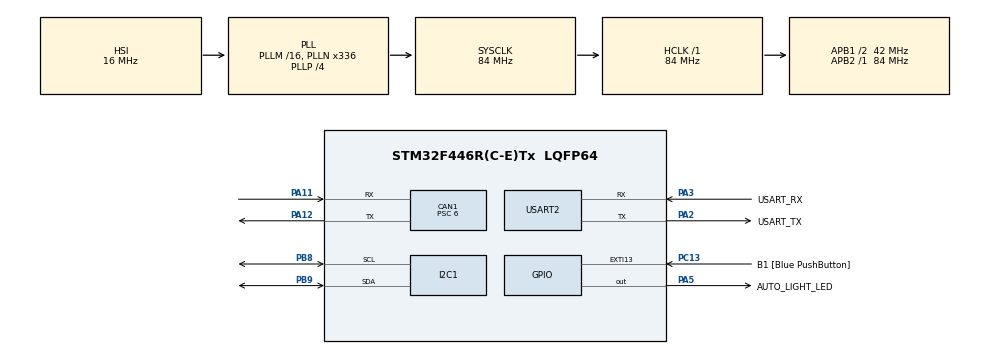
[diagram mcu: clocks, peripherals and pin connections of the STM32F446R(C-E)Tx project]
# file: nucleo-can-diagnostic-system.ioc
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CAN1.BS1=CAN_BS1_11TQ
CAN1.BS2=CAN_BS2_2TQ
CAN1.CalculateBaudRate=500000
CAN1.CalculateTimeBit=2000
CAN1.CalculateTimeQuantum=142.85714285714286
CAN1.Mode=CAN_MODE_NORMAL
CAN1.Prescaler=6
Mcu.Family=STM32F4
Mcu.Name=STM32F446R(C-E)Tx
Mcu.Package=LQFP64
NVIC.CAN1_RX0_IRQn=true\:0\:0\:false\:false\:true\:true\:true\:true
NVIC.PriorityGroup=NVIC_PRIORITYGROUP_0
PA11.Mode=CAN_Activate
PA11.Signal=CAN1_RX
PA12.Mode=CAN_Activate
PA12.Signal=CAN1_TX
PA13.GPIO_Label=TMS
PA13.Mode=Serial_Wire
PA13.Signal=SYS_JTMS-SWDIO
PA14.GPIO_Label=TCK
PA14.Mode=Serial_Wire
PA14.Signal=SYS_JTCK-SWCLK
PA2.GPIO_Label=USART_TX
PA2.Mode=Asynchronous
PA2.Signal=USART2_TX
PA3.GPIO_Label=USART_RX
PA3.Mode=Asynchronous
PA3.Signal=USART2_RX
PA5.GPIO_Label=AUTO_LIGHT_LED
PA5.Signal=GPIO_Output
PB3.GPIO_Label=SWO
PB3.Signal=SYS_JTDO-SWO
PB8.Mode=I2C
PB8.Signal=I2C1_SCL
PB9.Mode=I2C
PB9.Signal=I2C1_SDA
PC13.GPIO_Label=B1 [Blue PushButton]
PC13.GPIO_ModeDefaultEXTI=GPIO_MODE_IT_FALLING
PC13.Signal=GPXTI13
PC14-OSC32_IN.Mode=LSE-External-Oscillator
PC14-OSC32_IN.Signal=RCC_OSC32_IN
PC15-OSC32_OUT.Mode=LSE-External-Oscillator
PC15-OSC32_OUT.Signal=RCC_OSC32_OUT
PH0-OSC_IN.Mode=HSE-External-Oscillator
PH0-OSC_IN.Signal=RCC_OSC_IN
PH1-OSC_OUT.Mode=HSE-External-Oscillator
PH1-OSC_OUT.Signal=RCC_OSC_OUT
ProjectManager.HeapSize=0x200
ProjectManager.StackSize=0x400
ProjectManager.TargetToolchain=STM32CubeIDE
RCC.48MHZClocksFreq_Value=84000000
RCC.AHBFreq_Value=84000000
RCC.APB1CLKDivider=RCC_HCLK_DIV2
RCC.APB1Freq_Value=42000000
RCC.APB1TimFreq_Value=84000000
RCC.APB2Freq_Value=84000000
RCC.APB2TimFreq_Value=84000000
RCC.CortexFreq_Value=84000000
RCC.FLatency-AdvancedSettings=FLASH_LATENCY_2
RCC.HCLKFreq_Value=84000000
RCC.HSE_VALUE=8000000
RCC.HSI_VALUE=16000000
RCC.PLLN=336
RCC.PLLP=RCC_PLLP_DIV4
RCC.SYSCLKFreq_VALUE=84000000
RCC.SYSCLKSource=RCC_SYSCLKSOURCE_PLLCLK
RCC.USBFreq_Value=168000000
RCC.VCOOutputFreq_Value=336000000
USART2.VirtualMode=VM_ASYNC
board=NUCLEO-F446RE

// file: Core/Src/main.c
/* USER CODE BEGIN Header */
/**
  ******************************************************************************
  * @file           : main.c
  * @brief          : Main program body
  ******************************************************************************
  * @attention
  *
  * Copyright (c) 2026 STMicroelectronics.
  * All rights reserved.
  *
  * This software is licensed under terms that can be found in the LICENSE file
  * in the root directory of this software component.
  * If no LICENSE file comes with this software, it is provided AS-IS.
  *
  ******************************************************************************
  */
/* USER CODE END Header */
#include "main.h"
#include "can.h"
#include "i2c.h"
#include "usart.h"
#include "gpio.h"

/* USER CODE BEGIN Includes */
#include "i2c_lcd.h"
#include <stdio.h>
/* USER CODE END Includes */

/* USER CODE BEGIN PV */
#define BH1750_ADDR 0x46

uint16_t lux = 0;
uint8_t bh1750_buf[2];

uint8_t light_mode = 0; // 0: AUTO, 1: FORCE ON, 2: FORCE OFF
uint8_t btn_prev_state = GPIO_PIN_SET;

// 진단기용 상태 관련 변수들
uint16_t current_dtc = 0x0000; // 0x0000: 정상, 0xB101: B1001 고장코드
uint8_t fault_injected = 0;   // 0: 정상, 1: 고장 상태

char lcd_buf[16]; // LCD 텍스트 출력용 버퍼

// CAN 송신 관련 구조체 및 변수 선언
CAN_TxHeaderTypeDef TxHeader;
uint8_t TxData[8];
uint32_t TxMailbox;

// 기본 오토라이트 동작 임계값 (기본 100 lux)
uint16_t auto_light_threshold = 100;
/* USER CODE END PV */

void SystemClock_Config(void);

int main(void)
{

  /* MCU Configuration--------------------------------------------------------*/

  /* Reset of all peripherals, Initializes the Flash interface and the Systick. */
  HAL_Init();

  /* Configure the system clock */
  SystemClock_Config();

  /* Initialize all configured peripherals */
  MX_GPIO_Init();
  MX_CAN1_Init();
  MX_I2C1_Init();
  MX_USART2_UART_Init();
  /* USER CODE BEGIN 2 */
    // 1. CAN 필터 설정 (모든 ID 허용)
    CAN_FilterTypeDef sFilterConfig;

    sFilterConfig.FilterBank = 0;
    sFilterConfig.FilterMode = CAN_FILTERMODE_IDMASK;
    sFilterConfig.FilterScale = CAN_FILTERSCALE_32BIT;
    sFilterConfig.FilterIdHigh = 0x0000;
    sFilterConfig.FilterIdLow = 0x0000;
    sFilterConfig.FilterMaskIdHigh = 0x0000;
    sFilterConfig.FilterMaskIdLow = 0x0000;
    sFilterConfig.FilterFIFOAssignment = CAN_RX_FIFO0;
    sFilterConfig.FilterActivation = ENABLE;
    sFilterConfig.SlaveStartFilterBank = 14;

    if (HAL_CAN_ConfigFilter(&hcan1, &sFilterConfig) != HAL_OK)
    {
        Error_Handler();
    }

    // 2. CAN 시작
    if (HAL_CAN_Start(&hcan1) != HAL_OK)
    {
        Error_Handler();
    }

    // 3. 수신 인터럽트 활성화
    HAL_CAN_ActivateNotification(&hcan1, CAN_IT_RX_FIFO0_MSG_PENDING);

    // 4. TX Header 설정
    TxHeader.StdId = 0x100;
    TxHeader.ExtId = 0x01;
    TxHeader.RTR = CAN_RTR_DATA;
    TxHeader.IDE = CAN_ID_STD;
    TxHeader.DLC = 8;
    TxHeader.TransmitGlobalTime = DISABLE;

    // 5. BH1750 센서 초기화 (Power On & 연속 고해상도 측정 모드)
    uint8_t cmd = 0x01; // Power On
    HAL_I2C_Master_Transmit(&hi2c1, BH1750_ADDR, &cmd, 1, 100);

    cmd = 0x10; // Continuously H-Resolution Mode (1 lx 단위 측정)
    HAL_I2C_Master_Transmit(&hi2c1, BH1750_ADDR, &cmd, 1, 100);

    // 6. I2C CLCD 초기화
    lcd_init();
    lcd_clear();
    lcd_put_cur(0, 0);
    lcd_send_string("AutoLight ECU");
    HAL_Delay(1000);
    lcd_clear();
  /* USER CODE END 2 */

  /* Infinite loop */
  while (1)
  {

	  /* USER CODE BEGIN 3 */
	      // 1. 파란색 스위치 버튼(PC13) 입력 감지 및 모드 전환 (매 루프마다 빠르게 체크)
	      uint8_t btn_curr_state = HAL_GPIO_ReadPin(GPIOC, GPIO_PIN_13);

	      if (btn_prev_state == GPIO_PIN_SET && btn_curr_state == GPIO_PIN_RESET)
	      {
	          light_mode = (light_mode + 1) % 3; // 0:AUTO -> 1:ON -> 2:OFF
	          HAL_Delay(50); // 버튼 디바운싱
	      }
	      btn_prev_state = btn_curr_state;

	      // 2. BH1750 조도 데이터 수신
	      if (HAL_I2C_Master_Receive(&hi2c1, BH1750_ADDR, bh1750_buf, 2, 10) == HAL_OK)
	      {
	          lux = ((uint16_t)bh1750_buf[0] << 8) | bh1750_buf[1];
	          lux = (uint16_t)(lux / 1.2);
	      }
	      // ★ 고장 주입 상태일 경우 가상 센서 에러 처리 (단선/단락 모사)
	      if (fault_injected == 1)
	      {
	          lux = 0; // 고장 시 조도 값을 0 lx로 강제 고정
	      }

	      // 3. 모드별 오토라이트 제어 (PA5 내장 LED)
	      uint8_t light_state = 0;
	      if (light_mode == 1) // FORCE ON
	      {
	          HAL_GPIO_WritePin(GPIOA, GPIO_PIN_5, GPIO_PIN_SET);
	          light_state = 1;
	      }
	      else if (light_mode == 2) // FORCE OFF
	      {
	          HAL_GPIO_WritePin(GPIOA, GPIO_PIN_5, GPIO_PIN_RESET);
	          light_state = 0;
	      }
	      else // AUTO 모드
	      {
	    	  if (lux < auto_light_threshold)
	          {
	              HAL_GPIO_WritePin(GPIOA, GPIO_PIN_5, GPIO_PIN_SET);
	              light_state = 1;
	          }
	          else
	          {
	              HAL_GPIO_WritePin(GPIOA, GPIO_PIN_5, GPIO_PIN_RESET);
	              light_state = 0;
	          }
	      }

	      // 4. CLCD 화면 주기적 업데이트 (300ms 주기로 타이밍 분리하여 깜빡임 제거)
	      static uint32_t last_lcd_tick = 0;
	      if (HAL_GetTick() - last_lcd_tick >= 300)
	      {
	          last_lcd_tick = HAL_GetTick();

	          // 1번째 줄: LUX 값 표시
	          sprintf(lcd_buf, "LUX: %-5u lx   ", lux);
	          lcd_put_cur(0, 0);
	          lcd_send_string(lcd_buf);

	          // 2번째 줄: 모드 및 점등 상태 표시
	          char *mode_str = (light_mode == 0) ? "AUTO" : (light_mode == 1) ? "ON  " : "OFF ";
	          char *state_str = (light_state == 1) ? "ON " : "OFF";
	          sprintf(lcd_buf, "M:%-4s LIGHT:%-3s", mode_str, state_str);
	          lcd_put_cur(1, 0);
	          lcd_send_string(lcd_buf);
	      }

	      // 5. CAN 진단 메시지 전송 (ID: 0x100)
	      TxData[0] = (uint8_t)(lux >> 8);
	      TxData[1] = (uint8_t)(lux & 0xFF);
	      TxData[2] = light_state;
	      TxData[3] = light_mode;

	      if (HAL_CAN_GetTxMailboxesFreeLevel(&hcan1) > 0)
	      {
	          HAL_CAN_AddTxMessage(&hcan1, &TxHeader, TxData, &TxMailbox);
	      }
	      else
	      {
	          HAL_CAN_AbortTxRequest(&hcan1, CAN_TX_MAILBOX0 | CAN_TX_MAILBOX1 | CAN_TX_MAILBOX2);
	      }

	      HAL_Delay(50); // 기본 루프를 50ms로 줄여 스위치 및 CAN 반응성 향상
	  }
	  /* USER CODE END 3 */
}

void SystemClock_Config(void)
{
  RCC_OscInitTypeDef RCC_OscInitStruct = {0};
  RCC_ClkInitTypeDef RCC_ClkInitStruct = {0};

  /** Configure the main internal regulator output voltage
  */
  __HAL_RCC_PWR_CLK_ENABLE();
  __HAL_PWR_VOLTAGESCALING_CONFIG(PWR_REGULATOR_VOLTAGE_SCALE3);

  /** Initializes the RCC Oscillators according to the specified parameters
  * in the RCC_OscInitTypeDef structure.
  */
  RCC_OscInitStruct.OscillatorType = RCC_OSCILLATORTYPE_HSI;
  RCC_OscInitStruct.HSIState = RCC_HSI_ON;
  RCC_OscInitStruct.HSICalibrationValue = RCC_HSICALIBRATION_DEFAULT;
  RCC_OscInitStruct.PLL.PLLState = RCC_PLL_ON;
  RCC_OscInitStruct.PLL.PLLSource = RCC_PLLSOURCE_HSI;
  RCC_OscInitStruct.PLL.PLLM = 16;
  RCC_OscInitStruct.PLL.PLLN = 336;
  RCC_OscInitStruct.PLL.PLLP = RCC_PLLP_DIV4;
  RCC_OscInitStruct.PLL.PLLQ = 2;
  RCC_OscInitStruct.PLL.PLLR = 2;
  if (HAL_RCC_OscConfig(&RCC_OscInitStruct) != HAL_OK)
  {
    Error_Handler();
  }

  /** Initializes the CPU, AHB and APB buses clocks
  */
  RCC_ClkInitStruct.ClockType = RCC_CLOCKTYPE_HCLK|RCC_CLOCKTYPE_SYSCLK
                              |RCC_CLOCKTYPE_PCLK1|RCC_CLOCKTYPE_PCLK2;
  RCC_ClkInitStruct.SYSCLKSource = RCC_SYSCLKSOURCE_PLLCLK;
  RCC_ClkInitStruct.AHBCLKDivider = RCC_SYSCLK_DIV1;
  RCC_ClkInitStruct.APB1CLKDivider = RCC_HCLK_DIV2;
  RCC_ClkInitStruct.APB2CLKDivider = RCC_HCLK_DIV1;

  if (HAL_RCC_ClockConfig(&RCC_ClkInitStruct, FLASH_LATENCY_2) != HAL_OK)
  {
    Error_Handler();
  }
}

/* USER CODE BEGIN 4 */
void HAL_CAN_RxFifo0MsgPendingCallback(CAN_HandleTypeDef *hcan)
{
    CAN_RxHeaderTypeDef rxHeader;
    uint8_t rxData[8];

    if (hcan->Instance == CAN1)
    {
        if (HAL_CAN_GetRxMessage(hcan, CAN_RX_FIFO0, &rxHeader, rxData) == HAL_OK)
        {
            // PC 대시보드 모드 제어 명령 (CAN ID: 0x200)
            if (rxHeader.StdId == 0x200)
            {
                if (rxData[0] <= 2)
                {
                    light_mode = rxData[0];
                }
            }

            // 진단 스캐너 요청 명령 (CAN ID: 0x7E0)
            else if (rxHeader.StdId == 0x7E0)
            {
                uint8_t service_id = rxData[0];

                // [Service 0x19] Read DTC (고장 코드 읽기 요청)
                if (service_id == 0x19)
                {
                    CAN_TxHeaderTypeDef diagTxHeader;
                    uint8_t diagData[8] = {0};
                    uint32_t txMailbox;

                    diagTxHeader.StdId = 0x7E8; // 진단 응답 ID
                    diagTxHeader.RTR = CAN_RTR_DATA;
                    diagTxHeader.IDE = CAN_ID_STD;
                    diagTxHeader.DLC = 8;

                    // 응답 데이터: [DTC High, DTC Low, Fault Status, Lux High, Lux Low, 0, 0, 0]
                    diagData[0] = (current_dtc >> 8) & 0xFF;
                    diagData[1] = current_dtc & 0xFF;
                    diagData[2] = fault_injected;
                    diagData[3] = (lux >> 8) & 0xFF;
                    diagData[4] = lux & 0xFF;

                    // Mailbox 체크 후 송신
                    if (HAL_CAN_GetTxMailboxesFreeLevel(hcan) > 0)
                    {
                        HAL_CAN_AddTxMessage(hcan, &diagTxHeader, diagData, &txMailbox);
                    }
                }

                // [Service 0x14] Clear DTC (고장 코드 소거)
                else if (service_id == 0x14)
                {
                	// 고장 메모리(DTC) 일단 초기화
                	current_dtc = 0x0000;

                	// 고장 조건(fault_injected)이 여전히 유지 중이라면, 고장 코드가 재발생
                	if (fault_injected == 1)
                	{
                	    current_dtc = 0xB101; // 고장 원인 미해결로 DTC 재등록
                    }
                }

                // [Service 0x2F] Fault Injection (가상 고장 주입/해제)
                else if (service_id == 0x2F)
                {
                    if (rxData[1] == 0x01) {
                        fault_injected = 1;
                        current_dtc = 0xB101; // DTC B1001 (조도센서 단선/단락) 부여
                    } else {
                        fault_injected = 0;
                        current_dtc = 0x0000;
                    }
                }
            }
        }
    }
}
/* USER CODE END 4 */

void Error_Handler(void)
{
  __disable_irq();
  while (1)
  {
  }
}
